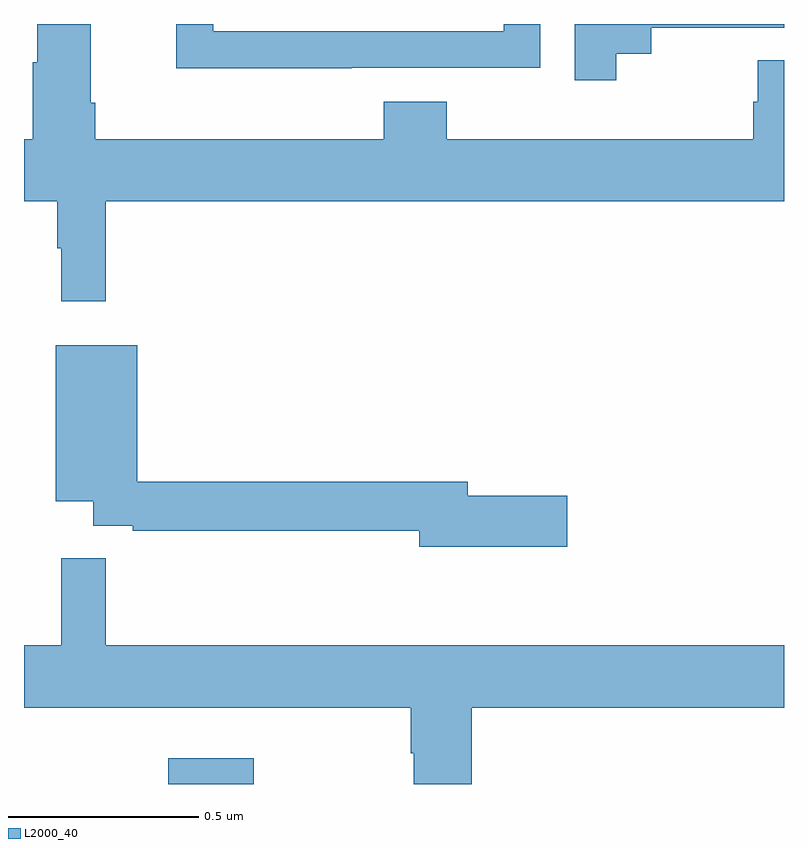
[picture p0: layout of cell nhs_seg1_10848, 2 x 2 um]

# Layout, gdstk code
import gdstk
lib = gdstk.Library(unit=1e-6, precision=1e-09)
def R(c, l, rs):  # rectangles x0, y0, x1, y1
    for r in rs: c.add(gdstk.rectangle(r[:2], r[2:], *l))
def P(c, l, *ps):  # polygons
    for p in ps: c.add(gdstk.Polygon(p, *l))
L2000_40 = (2000, 40)

nhs_seg1_10848 = lib.new_cell('nhs_seg1_10848')
R(nhs_seg1_10848, L2000_40, [(246.38,550.199,246.604,550.267)])
P(nhs_seg1_10848, L2000_40, [(246.215,551.732),(248,551.732),(248,552.104),(247.931,552.104),(247.931,551.994),(247.919,551.994),(247.919,551.896),(247.112,551.896),(247.112,551.995),(246.947,551.995),(246.947,551.896),(246.188,551.896),(246.188,551.992),(246.175,551.992),(246.175,552.199),(246.035,552.199),(246.035,552.098),(246.023,552.098),(246.023,551.896),(246,551.896),(246,551.732),(246.087,551.732),(246.087,551.609),(246.098,551.609),(246.098,551.469),(246.215,551.469)],
  [(246.863,552.084),(247.359,552.084),(247.359,552.199),(247.263,552.199),(247.263,552.18),(246.498,552.18),(246.498,552.199),(246.4,552.199),(246.4,552.083),(246.863,552.083)],
  [(247.558,552.121),(247.65,552.121),(247.65,552.189),(248,552.189),(248,552.199),(247.449,552.199),(247.449,552.051),(247.558,552.051)],
  [(247.429,550.958),(247.168,550.958),(247.168,550.994),(246.298,550.994),(246.298,551.353),(246.083,551.353),(246.083,550.943),(246.182,550.943),(246.182,550.878),(246.286,550.878),(246.286,550.866),(247.04,550.866),(247.04,550.823),(247.429,550.823)],
  [(247.178,550.4),(248,550.4),(248,550.564),(246.215,550.564),(246.215,550.793),(246.098,550.793),(246.098,550.564),(246,550.564),(246,550.4),(247.018,550.4),(247.018,550.28),(247.025,550.28),(247.025,550.199),(247.178,550.199)])

lib.write_gds('nhs_seg1_10848.gds')
